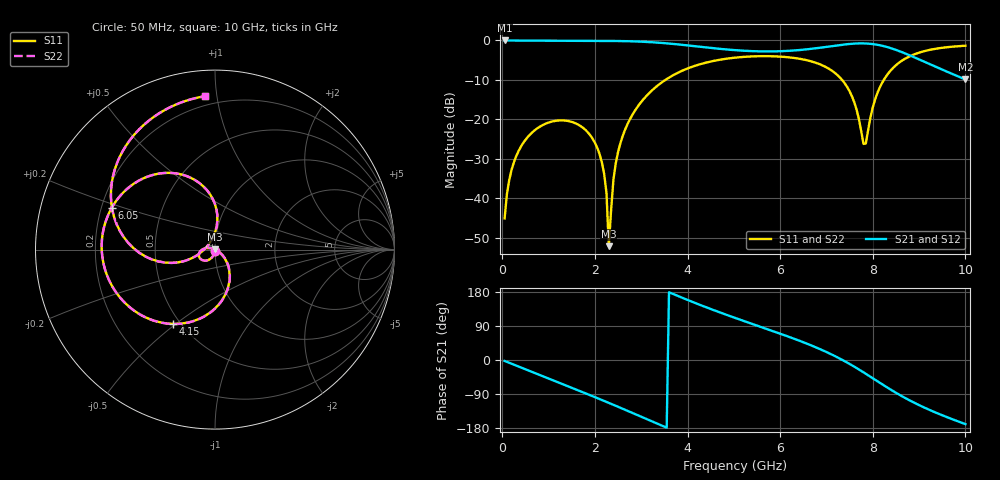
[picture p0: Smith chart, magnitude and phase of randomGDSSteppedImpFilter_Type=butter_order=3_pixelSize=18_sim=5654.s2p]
! freq	dB(S11)	phase(S11)	dB(S12)	phase(S12)
!  dB(S21)	phase(S21)	dB(S22)	phase(S22)
!S-par simulation data
#  GHz  S  DB  R 50
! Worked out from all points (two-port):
!   200 points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, 50 MHz to 10 GHz, reference 50 ohm
!   highest |S21| = -0.01 dB at 50 MHz (marker M1); lowest = -9.9 dB at 10 GHz (marker M2)
!   |S21| within 3 dB of the highest: start of sweep to 8.638 GHz
!   lowest |S11| = -52.1 dB at 2.3 GHz (marker M3), VSWR 1.00, Z = 49.8 + j0.072 ohm
!   |S11| at or under -10 dB: start of sweep to 3.522 GHz; 7.336 GHz to 8.239 GHz (903 MHz wide, 11.6 % of centre)
!   |S22| runs from -51.6 to -1.3 dB; largest |S21 - S12| = 0
!   S11 on the Smith chart (normalised r, x): 50 MHz: 1.00, -0.01; 4.15 GHz: 0.46, -0.49; 6.05 GHz: 0.24, +0.18; 10 GHz: 0.14, +0.93
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0.05  -45.08 -93.2  -0.01 -2.5  -0.01 -2.5  -45.07 -93.1
0.2  -32.81 -101.2  -0.03 -9.9  -0.03 -9.9  -32.81 -101.2
0.55  -24.46 -117.8  -0.05 -27.0  -0.05 -27.0  -24.46 -117.8
1.15  -20.37 -146.9  -0.10 -56.2  -0.10 -56.2  -20.37 -147.1
1.75  -22.20 -176.3  -0.12 -85.5  -0.12 -85.5  -22.20 -176.9
2.15  -30.87 164.0  -0.12 -105.5  -0.12 -105.5  -30.86 162.0
2.25  -38.68 159.7  -0.13 -110.6  -0.13 -110.6  -38.66 154.3
2.3  -52.11 163.0  -0.13 -113.1  -0.13 -113.1  -51.57 133.2
2.4  -35.28 -30.1  -0.14 -118.3  -0.14 -118.3  -35.27 -26.2
2.55  -26.04 -37.3  -0.16 -126.0  -0.16 -126.0  -26.04 -35.8
2.9  -17.17 -55.4  -0.26 -144.4  -0.26 -144.4  -17.17 -54.8
3.4  -11.01 -81.6  -0.59 -170.8  -0.59 -170.8  -11.01 -81.3
4.15  -6.47 -119.3  -1.45 151.2  -1.45 151.2  -6.47 -119.1
5.05  -4.33 -159.9  -2.48 110.1  -2.48 110.1  -4.34 -159.8
6.05  -4.14 158.1  -2.71 67.3  -2.71 67.3  -4.14 158.2
6.7  -5.40 128.7  -2.09 37.1  -2.09 37.1  -5.40 128.8
7.45  -11.86 90.3  -0.95 -7.0  -0.95 -7.0  -11.86 90.2
7.8  -26.22 123.1  -0.75 -32.5  -0.75 -32.5  -26.34 122.9
8.05  -14.96 -159.6  -1.00 -52.1  -1.00 -52.1  -14.96 -159.3
8.35  -8.12 -174.7  -1.81 -75.4  -1.81 -75.4  -8.12 -174.6
9.05  -2.92 141.4  -5.06 -122.0  -5.06 -122.0  -2.92 141.4
10  -1.34 93.7  -9.89 -169.1  -9.89 -169.1  -1.35 93.7
